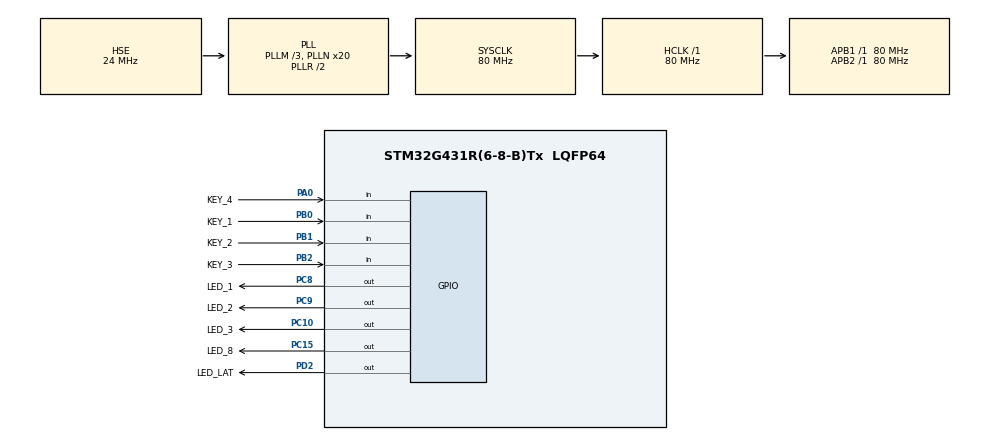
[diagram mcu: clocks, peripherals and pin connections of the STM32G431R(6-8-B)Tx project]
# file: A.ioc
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Mcu.Family=STM32G4
Mcu.Name=STM32G431R(6-8-B)Tx
Mcu.Package=LQFP64
NVIC.PriorityGroup=NVIC_PRIORITYGROUP_4
PA0.GPIO_Label=KEY_4
PA0.GPIO_Mode=GPIO_MODE_INPUT
PA0.GPIO_PuPd=GPIO_PULLUP
PA0.Signal=GPIO_Input
PA13.Mode=Serial_Wire
PA13.Signal=SYS_JTMS-SWDIO
PA14.Mode=Serial_Wire
PA14.Signal=SYS_JTCK-SWCLK
PB0.GPIO_Label=KEY_1
PB0.GPIO_Mode=GPIO_MODE_INPUT
PB0.GPIO_PuPd=GPIO_PULLUP
PB0.Signal=GPIO_Input
PB1.GPIO_Label=KEY_2
PB1.GPIO_Mode=GPIO_MODE_INPUT
PB1.GPIO_PuPd=GPIO_PULLUP
PB1.Signal=GPIO_Input
PB2.GPIO_Label=KEY_3
PB2.GPIO_Mode=GPIO_MODE_INPUT
PB2.GPIO_PuPd=GPIO_PULLUP
PB2.Signal=GPIO_Input
PC10.GPIO_Label=LED_3
PC10.GPIO_ModeDefaultOutputPP=GPIO_MODE_OUTPUT_PP
PC10.GPIO_PuPd=GPIO_NOPULL
PC10.GPIO_Speed=GPIO_SPEED_FREQ_LOW
PC10.PinState=GPIO_PIN_SET
PC10.Signal=GPIO_Output
PC15-OSC32_OUT.GPIO_Label=LED_8
PC15-OSC32_OUT.GPIO_ModeDefaultOutputPP=GPIO_MODE_OUTPUT_PP
PC15-OSC32_OUT.GPIO_PuPd=GPIO_NOPULL
PC15-OSC32_OUT.GPIO_Speed=GPIO_SPEED_FREQ_LOW
PC15-OSC32_OUT.PinState=GPIO_PIN_SET
PC15-OSC32_OUT.Signal=GPIO_Output
PC8.GPIO_Label=LED_1
PC8.GPIO_ModeDefaultOutputPP=GPIO_MODE_OUTPUT_PP
PC8.GPIO_PuPd=GPIO_NOPULL
PC8.GPIO_Speed=GPIO_SPEED_FREQ_LOW
PC8.PinState=GPIO_PIN_SET
PC8.Signal=GPIO_Output
PC9.GPIO_Label=LED_2
PC9.GPIO_ModeDefaultOutputPP=GPIO_MODE_OUTPUT_PP
PC9.GPIO_PuPd=GPIO_NOPULL
PC9.GPIO_Speed=GPIO_SPEED_FREQ_LOW
PC9.PinState=GPIO_PIN_SET
PC9.Signal=GPIO_Output
PD2.GPIO_Label=LED_LAT
PD2.GPIO_ModeDefaultOutputPP=GPIO_MODE_OUTPUT_PP
PD2.GPIO_PuPd=GPIO_NOPULL
PD2.GPIO_Speed=GPIO_SPEED_FREQ_LOW
PD2.PinState=GPIO_PIN_SET
PD2.Signal=GPIO_Output
PF0-OSC_IN.Mode=HSE-External-Oscillator
PF0-OSC_IN.Signal=RCC_OSC_IN
PF1-OSC_OUT.Mode=HSE-External-Oscillator
PF1-OSC_OUT.Signal=RCC_OSC_OUT
ProjectManager.HeapSize=0x200
ProjectManager.StackSize=0x400
ProjectManager.TargetToolchain=CMake
RCC.ADC12Freq_Value=80000000
RCC.AHBFreq_Value=80000000
RCC.APB1Freq_Value=80000000
RCC.APB1TimFreq_Value=80000000
RCC.APB2Freq_Value=80000000
RCC.APB2TimFreq_Value=80000000
RCC.CortexFreq_Value=80000000
RCC.EXTERNAL_CLOCK_VALUE=12288000
RCC.HCLKFreq_Value=80000000
RCC.HSE_VALUE=24000000
RCC.HSI48_VALUE=48000000
RCC.HSI_VALUE=16000000
RCC.LSE_VALUE=32768
RCC.PLLM=RCC_PLLM_DIV3
RCC.PLLN=20
RCC.PLLSourceVirtual=RCC_PLLSOURCE_HSE
RCC.SYSCLKFreq_VALUE=80000000
RCC.SYSCLKSource=RCC_SYSCLKSOURCE_PLLCLK
RCC.USBFreq_Value=80000000
RCC.VCOOutputFreq_Value=160000000
VP_SYS_VS_DBSignals.Mode=DisableDeadBatterySignals
board=custom

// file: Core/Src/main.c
/* USER CODE BEGIN Header */
/**
  ******************************************************************************
  * @file           : main.c
  * @brief          : Main program body
  ******************************************************************************
  * @attention
  *
  * Copyright (c) 2026 STMicroelectronics.
  * All rights reserved.
  *
  * This software is licensed under terms that can be found in the LICENSE file
  * in the root directory of this software component.
  * If no LICENSE file comes with this software, it is provided AS-IS.
  *
  ******************************************************************************
  */
/* USER CODE END Header */
#include "main.h"
#include "gpio.h"

/* USER CODE BEGIN Includes */
#include "led.h"
#include "key.h"
#include "lcd.h"
/* USER CODE END Includes */

void SystemClock_Config(void);

int main(void)
{

  /* MCU Configuration--------------------------------------------------------*/

  /* Reset of all peripherals, Initializes the Flash interface and the Systick. */
  HAL_Init();

  /* Configure the system clock */
  SystemClock_Config();

  /* Initialize all configured peripherals */
  MX_GPIO_Init();
  /* USER CODE BEGIN 2 */
	HAL_GPIO_WritePin(LED_LAT_GPIO_Port,LED_LAT_Pin,GPIO_PIN_RESET);
	LCD_Init();
	LCD_Clear(Black);
	LCD_SetBackColor(Black);
	LCD_SetTextColor(White);

	Led_Init();

	uint8_t isUnlocked=0;
	uint8_t isB3=0;
	uint8_t isB4=0;

	uint16_t last_time = 0;
	uint16_t curren_time = HAL_GetTick();
	uint16_t wait_time=curren_time-last_time;
	int temp = 100;
  /* USER CODE END 2 */

  /* Infinite loop */
  /* USER CODE BEGIN WHILE */
  while (1)
  {
		KeyEvent key = Key_Scan();

		switch(key)
		{
			case KEY_EVENT_1:
				isUnlocked=1;
				break;
			case KEY_EVENT_2:
				isUnlocked=0;
				break;
			case KEY_EVENT_3:
				if(isUnlocked==1)
				{
					isB3=1;
				}
				break;
			case KEY_EVENT_4:
				if(isUnlocked==1)
				{
					isB4=1;
				}
				break;
			default:
				break;
		}
		if(isUnlocked==0)
		{
			Led_OFF(0);
			Led_ON(7);
		}
		else{
			Led_ON(0);
			Led_OFF(7);
			if(isB3)
			{
				Led_ON(1);
				isB3=0;
			}
			else{
				Led_OFF(1);
			}
			if(isB4)
			{
				last_time = curren_time;
				curren_time = HAL_GetTick();
				wait_time=curren_time-last_time;
				if(temp>wait_time)
				{
					temp-=wait_time;
				}
				else{
					if(HAL_GPIO_ReadPin(LED_3_GPIO_Port,LED_3_Pin)==GPIO_PIN_RESET)
					{
						Led_OFF(2);
					}
					else{
						Led_ON(2);
					}
					temp=100;
				}
				isB4=0;
			}
			else{
				Led_OFF(2);
			}
		}
    /* USER CODE END WHILE */

  }
}

void SystemClock_Config(void)
{
  RCC_OscInitTypeDef RCC_OscInitStruct = {0};
  RCC_ClkInitTypeDef RCC_ClkInitStruct = {0};

  /** Configure the main internal regulator output voltage
  */
  HAL_PWREx_ControlVoltageScaling(PWR_REGULATOR_VOLTAGE_SCALE1);

  /** Initializes the RCC Oscillators according to the specified parameters
  * in the RCC_OscInitTypeDef structure.
  */
  RCC_OscInitStruct.OscillatorType = RCC_OSCILLATORTYPE_HSE;
  RCC_OscInitStruct.HSEState = RCC_HSE_ON;
  RCC_OscInitStruct.PLL.PLLState = RCC_PLL_ON;
  RCC_OscInitStruct.PLL.PLLSource = RCC_PLLSOURCE_HSE;
  RCC_OscInitStruct.PLL.PLLM = RCC_PLLM_DIV3;
  RCC_OscInitStruct.PLL.PLLN = 20;
  RCC_OscInitStruct.PLL.PLLP = RCC_PLLP_DIV2;
  RCC_OscInitStruct.PLL.PLLQ = RCC_PLLQ_DIV2;
  RCC_OscInitStruct.PLL.PLLR = RCC_PLLR_DIV2;
  if (HAL_RCC_OscConfig(&RCC_OscInitStruct) != HAL_OK)
  {
    Error_Handler();
  }

  /** Initializes the CPU, AHB and APB buses clocks
  */
  RCC_ClkInitStruct.ClockType = RCC_CLOCKTYPE_HCLK|RCC_CLOCKTYPE_SYSCLK
                              |RCC_CLOCKTYPE_PCLK1|RCC_CLOCKTYPE_PCLK2;
  RCC_ClkInitStruct.SYSCLKSource = RCC_SYSCLKSOURCE_PLLCLK;
  RCC_ClkInitStruct.AHBCLKDivider = RCC_SYSCLK_DIV1;
  RCC_ClkInitStruct.APB1CLKDivider = RCC_HCLK_DIV1;
  RCC_ClkInitStruct.APB2CLKDivider = RCC_HCLK_DIV1;

  if (HAL_RCC_ClockConfig(&RCC_ClkInitStruct, FLASH_LATENCY_2) != HAL_OK)
  {
    Error_Handler();
  }
}

void Error_Handler(void)
{
  __disable_irq();
  while (1)
  {
  }
}
